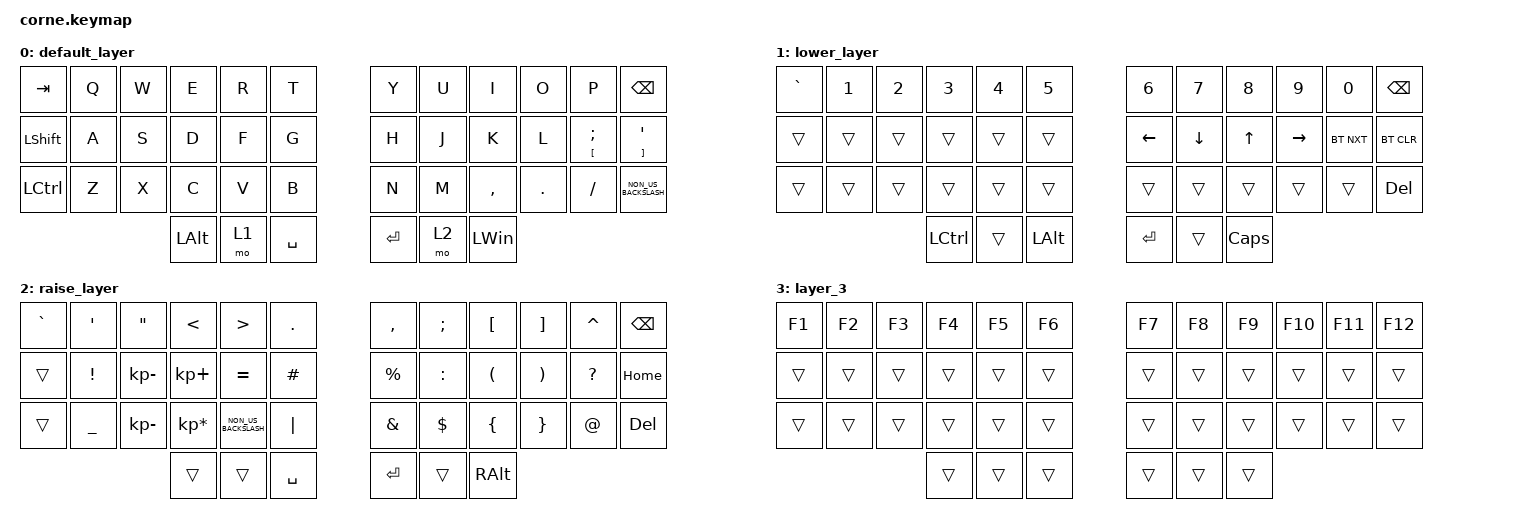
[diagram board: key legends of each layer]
/*
 * Copyright (c) 2020 The ZMK Contributors
 *
 * SPDX-License-Identifier: MIT
 */

#include <behaviors.dtsi>
#include <dt-bindings/zmk/bt.h>
#include <dt-bindings/zmk/keys.h>

/ {
    combos {
        compatible = "zmk,combos";

        combo_esc {
            timeout-ms = <50>;
            key-positions = <0 1>;
            bindings = <&kp ESC>;
        };

        Layer3Combo {
            bindings = <&mo 3>;
            key-positions = <37 40>;
        };

        combo_brace_left {
            bindings = <&kp LEFT_BRACE>;
            key-positions = <28 29>;
        };

        combo_brace_right {
            bindings = <&kp RIGHT_BRACE>;
            key-positions = <31 30>;
        };

        combo_pares_left {
            bindings = <&kp LEFT_PARENTHESIS>;
            key-positions = <17 16>;
        };

        combo_pares_right {
            bindings = <&kp RIGHT_PARENTHESIS>;
            key-positions = <18 19>;
        };

        combo_brackets_right {
            bindings = <&kp RIGHT_BRACKET>;
            key-positions = <6 7>;
        };

        combo_brackets_left {
            bindings = <&kp LEFT_BRACKET>;
            key-positions = <5 4>;
        };
    };

    behaviors {
        ss_hs_modmorph: ss_hs_modmorph {
            compatible = "zmk,behavior-mod-morph";
            label = "SS_HS_MODMORPH";
            bindings = <&kp M>, <&kp RIGHT_BRACKET>;

            #binding-cells = <0>;
            mods = <(MOD_LSFT|MOD_RSFT)>;
        };

        kh_hs_tapdance: kh_hs_tapdance {
            compatible = "zmk,behavior-tap-dance";
            label = "KH_HS_TAPDANCE";
            #binding-cells = <0>;
            tapping-term-ms = <200>;
            bindings = <&kp LEFT_BRACKET>, <&kp RIGHT_BRACKET>;
        };

        hrm: hrm {
            compatible = "zmk,behavior-hold-tap";
            #binding-cells = <2>;
            flavor = "tap-preferred";
            tapping-term-ms = <200>;
            quick-tap-ms = <200>;
            require-prior-idle-ms = <125>;
            bindings = <&kp>, <&kp>;
        };
    };

    keymap {
        compatible = "zmk,keymap";

        default_layer {
            // -----------------------------------------------------------------------------------------
            // |  TAB |  Q  |  W  |  E  |  R  |  T  |   |  Y  |  U   |  I  |  O  |  P  | BKSP |
            // | CTRL |  A  |  S  |  D  |  F  |  G  |   |  H  |  J   |  K  |  L  |  ;  |  '   |
            // | SHFT |  Z  |  X  |  C  |  V  |  B  |   |  N  |  M   |  ,  |  .  |  /  | ESC  |
            //                    | GUI | LWR | SPC |   | ENT | RSE  | ALT |

            bindings = <
&kp TAB           &kp Q  &kp W  &kp E         &kp R  &kp T        &kp Y    &kp U  &kp I         &kp O    &kp P                        &kp BACKSPACE
&kp LEFT_SHIFT    &kp A  &kp S  &kp D         &kp F  &kp G        &kp H    &kp J  &kp K         &kp L    &hrm LEFT_BRACKET SEMICOLON  &hrm RIGHT_BRACKET SQT
&kp LEFT_CONTROL  &kp Z  &kp X  &kp C         &kp V  &kp B        &kp N    &kp M  &kp COMMA     &kp DOT  &kp FSLH                     &kp NON_US_BACKSLASH
                                &kp LEFT_ALT  &mo 1  &kp SPACE    &kp RET  &mo 2  &kp LEFT_WIN
            >;
        };

        lower_layer {
            // -----------------------------------------------------------------------------------------
            // |  TAB |  1  |  2  |  3  |  4  |  5  |   |  6  |  7  |  8  |  9  |  0  | BKSP |
            // | BTCLR| BT1 | BT2 | BT3 | BT4 | BT5 |   | LFT | DWN |  UP | RGT |     |      |
            // | SHFT |     |     |     |     |     |   |     |     |     |     |     |      |
            //                    | GUI |     | SPC |   | ENT |     | ALT |

            bindings = <
&kp GRAVE  &kp N1  &kp N2  &kp N3     &kp N4  &kp N5          &kp N6          &kp N7          &kp N8        &kp N9     &kp N0      &kp BSPC
&trans     &trans  &trans  &trans     &trans  &trans          &kp LEFT_ARROW  &kp DOWN_ARROW  &kp UP_ARROW  &kp RIGHT  &bt BT_NXT  &bt BT_CLR
&trans     &trans  &trans  &trans     &trans  &trans          &trans          &trans          &trans        &trans     &trans      &kp DELETE
                           &kp LCTRL  &trans  &kp LEFT_ALT    &kp RET         &trans          &kp CAPS
            >;
        };

        raise_layer {
            // -----------------------------------------------------------------------------------------
            // |  TAB |  !  |  @  |  #  |  $  |  %  |   |  ^  |  &  |  *  |  (  |  )  | BKSP |
            // | CTRL |     |     |     |     |     |   |  -  |  =  |  [  |  ]  |  \  |  `   |
            // | SHFT |     |     |     |     |     |   |  _  |  +  |  {  |  }  | "|" |  ~   |
            //                    | GUI |     | SPC |   | ENT |     | ALT |

            bindings = <
&kp GRAVE  &kp SQT          &kp DOUBLE_QUOTES  &kp LESS_THAN    &kp GREATER_THAN      &kp DOT      &kp COMMA      &kp SEMI    &kp LEFT_BRACKET      &kp RIGHT_BRACKET      &kp CARET     &kp BACKSPACE
&trans     &kp EXCLAMATION  &kp KP_MINUS       &kp KP_PLUS      &kp EQUAL             &kp HASH     &kp PERCENT    &kp COLON   &kp LEFT_PARENTHESIS  &kp RIGHT_PARENTHESIS  &kp QUESTION  &kp HOME
&trans     &kp UNDER        &kp KP_SUBTRACT    &kp KP_MULTIPLY  &kp NON_US_BACKSLASH  &kp PIPE     &kp AMPERSAND  &kp DOLLAR  &kp LEFT_BRACE        &kp RIGHT_BRACE        &kp AT_SIGN   &kp DELETE
                                               &trans           &trans                &kp SPACE    &kp RET        &trans      &kp RALT
            >;
        };

        layer_3 {
            bindings = <
&kp F1  &kp F2  &kp F3  &kp F4  &kp F5  &kp F6    &kp F7  &kp F8  &kp F9  &kp F10  &kp F11  &kp F12
&trans  &trans  &trans  &trans  &trans  &trans    &trans  &trans  &trans  &trans   &trans   &trans
&trans  &trans  &trans  &trans  &trans  &trans    &trans  &trans  &trans  &trans   &trans   &trans
                        &trans  &trans  &trans    &trans  &trans  &trans
            >;
        };
    };
};
